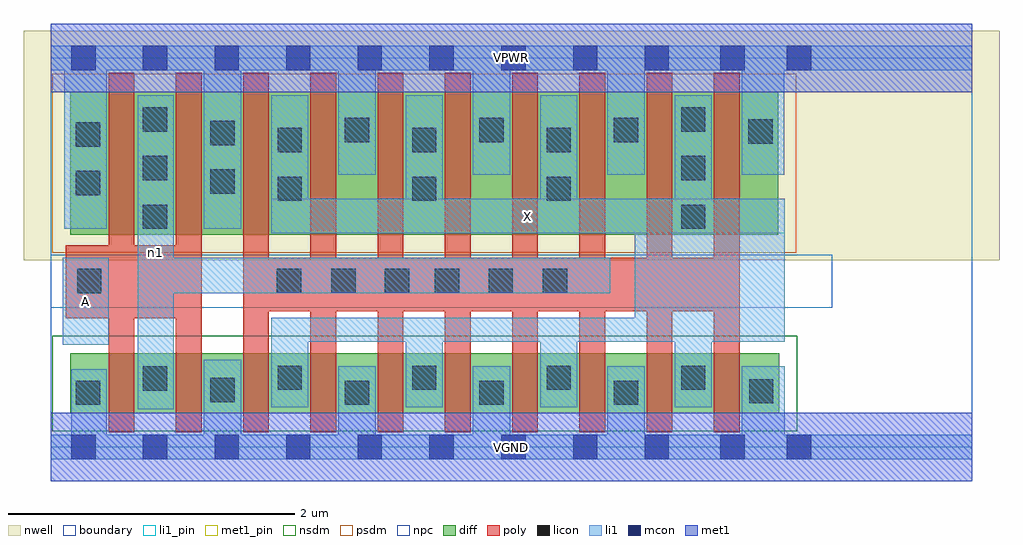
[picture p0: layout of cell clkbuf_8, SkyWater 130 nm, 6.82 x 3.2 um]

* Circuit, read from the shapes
.subckt clkbuf_8 A VGND VPWR X n1
XM1 n1 A VGND VSUBS sky130_fd_pr__nfet_01v8 w=0.42 l=0.18 m=2
XM2 X n1 VGND VSUBS sky130_fd_pr__nfet_01v8 w=0.42 l=0.18 m=8
XM3 n1 A VPWR n2 sky130_fd_pr__pfet_01v8 w=1 l=0.18 m=2
XM4 X n1 VPWR n2 sky130_fd_pr__pfet_01v8 w=1 l=0.18 m=8
.ends

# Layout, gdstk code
import gdstk
lib = gdstk.Library(unit=1e-6, precision=1e-09)
def R(c, l, rs):  # rectangles x0, y0, x1, y1
    for r in rs: c.add(gdstk.rectangle(r[:2], r[2:], *l))
def A(c, l, x, y, w, h, nx, ny, dx, dy):  # array of equal rectangles
    R(c, l, [(x+i*dx, y+j*dy, x+i*dx+w, y+j*dy+h) for i in range(nx) for j in range(ny)])
nwell = (64, 20)
diff = (65, 20)
poly = (66, 20)
licon = (66, 44)
li1_pin = (67, 16)
li1 = (67, 20)
mcon = (67, 44)
met1_pin = (68, 16)
met1 = (68, 20)
nsdm = (93, 44)
psdm = (94, 20)
npc = (95, 20)
boundary = (235, 4)

clkbuf_8 = lib.new_cell('clkbuf_8')
R(clkbuf_8, nwell, [(-0.19,1.305,6.63,2.91), (0,1.305,6.44,2.91)])
R(clkbuf_8, diff, [(0.135,0.235,5.09,0.655), (0.135,1.485,5.085,2.485)])
A(clkbuf_8, poly, 0.405, 0.105, 0.18, 2.51, 10, 1, 0.47, 0)
R(clkbuf_8, poly, [(0.105,0.9,1.055,1.41), (1.345,0.95,4.815,1.325)])
A(clkbuf_8, licon, 2.055, 0.295, 0.17, 0.17, 3, 2, 0.94, 1.835)
A(clkbuf_8, licon, 1.585, 0.4, 0.17, 0.17, 4, 1, 0.94, 0)
A(clkbuf_8, licon, 0.645, 1.525, 0.17, 0.17, 1, 3, 0, 0.34)
A(clkbuf_8, licon, 4.405, 1.525, 0.17, 0.17, 1, 3, 0, 0.34)
A(clkbuf_8, licon, 1.585, 1.72, 0.17, 0.17, 3, 2, 0.94, 0.34)
R(clkbuf_8, licon, [(0.175,0.295,0.345,0.465), (4.88,0.305,5.05,0.475), (1.115,0.315,1.285,0.485), (0.645,0.395,0.815,0.565), (0.185,1.075,0.355,1.245), (1.58,1.075,1.75,1.245), (1.96,1.075,2.13,1.245), (2.335,1.075,2.505,1.245), (2.685,1.075,2.855,1.245), (3.06,1.075,3.23,1.245), (3.44,1.075,3.61,1.245), (0.175,1.76,0.345,1.93), (1.115,1.77,1.285,1.94), (0.175,2.1,0.345,2.27), (1.115,2.11,1.285,2.28), (4.875,2.12,5.045,2.29)])
R(clkbuf_8, li1_pin, [(0.085,0.715,0.405,1.325), (1.54,1.495,5.13,1.735)])
A(clkbuf_8, li1, 2.01, -0.085, 0.26, 0.65, 3, 1, 0.94, 0)
A(clkbuf_8, li1, 1.54, 0.28, 0.26, 0.625, 3, 1, 0.94, 0)
A(clkbuf_8, li1, 1.54, 1.495, 0.26, 0.965, 3, 1, 0.94, 0)
A(clkbuf_8, li1, 2.01, 1.905, 0.26, 0.9, 3, 1, 0.94, 0)
R(clkbuf_8, li1, [(0,-0.085,6.44,0.085), (0.145,-0.085,0.39,0.545), (1.07,-0.085,1.33,0.61), (4.83,-0.085,5.13,0.565), (0.61,0.265,0.86,2.46), (4.36,0.28,4.62,2.46), (0.085,0.715,0.405,1.325), (1.54,0.735,5.13,0.905), (4.08,0.735,5.13,1.735), (0.61,1.075,3.91,1.325), (1.54,1.495,5.13,1.735), (0.095,1.525,0.39,2.805), (1.07,1.525,1.33,2.805), (4.83,1.905,5.125,2.805), (0,2.635,6.44,2.805)])
A(clkbuf_8, mcon, 0.145, -0.085, 0.17, 0.17, 6, 2, 0.5, 2.72)
A(clkbuf_8, mcon, 3.15, -0.085, 0.17, 0.17, 3, 2, 0.5, 2.72)
R(clkbuf_8, mcon, [(4.68,-0.085,4.85,0.085), (5.145,-0.085,5.315,0.085), (4.68,2.635,4.85,2.805), (5.145,2.635,5.315,2.805)])
R(clkbuf_8, met1_pin, [(0,-0.24,6.44,0.24), (0,2.48,6.44,2.96)])
R(clkbuf_8, met1, [(0,-0.24,6.44,0.24), (0,2.48,6.44,2.96)])
R(clkbuf_8, nsdm, [(0.01,0.11,5.215,0.78)])
R(clkbuf_8, psdm, [(0.01,1.36,5.21,2.61)])
R(clkbuf_8, npc, [(0,0.975,5.46,1.345)])
R(clkbuf_8, boundary, [(0,0,6.44,2.72)])
clkbuf_8.add(gdstk.Label('A', (0.245,1.02), layer=67, texttype=5))
clkbuf_8.add(gdstk.Label('X', (3.335,1.615), layer=67, texttype=5))
clkbuf_8.add(gdstk.Label('n1', (0.735,1.362), layer=67, texttype=5))
clkbuf_8.add(gdstk.Label('VPWR', (3.22,2.72), layer=68, texttype=5))
clkbuf_8.add(gdstk.Label('VGND', (3.22,0), layer=68, texttype=5))
clkbuf_8.add(gdstk.Label('A', (0.245,1.02), layer=67, texttype=16))
clkbuf_8.add(gdstk.Label('X', (3.335,1.615), layer=67, texttype=16))
clkbuf_8.add(gdstk.Label('VPWR', (3.22,2.72), layer=68, texttype=16))
clkbuf_8.add(gdstk.Label('VGND', (3.22,0), layer=68, texttype=16))

lib.write_gds('clkbuf_8.gds')
